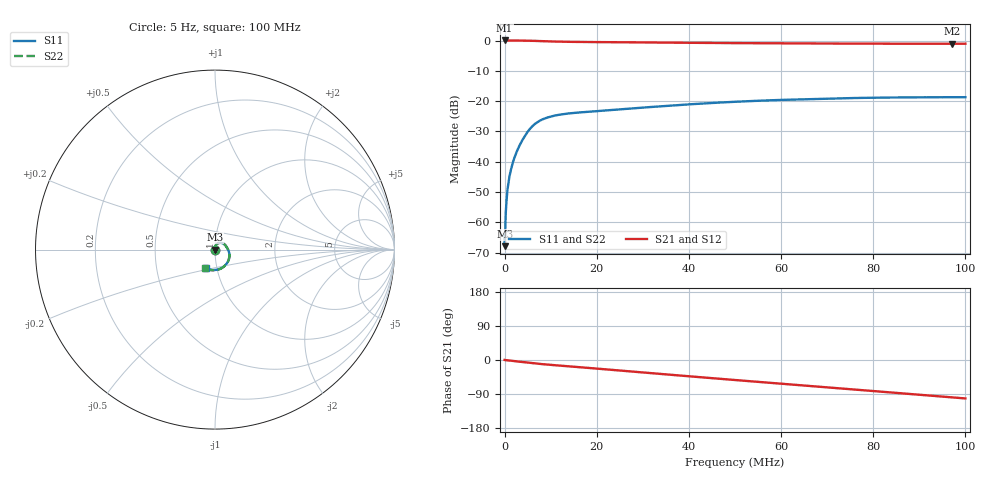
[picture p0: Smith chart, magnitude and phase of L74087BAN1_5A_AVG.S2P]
!Agilent Technologies,E5061B,MY49102235,A.02.00
!Date: Mon Jul 10 15:53:09 2023
!Data & Calibration Information:
!Freq	S11:SOLT2(ON)	S21:SOLT2(ON)	S12:SOLT2(ON)	S22:SOLT2(ON)
# Hz S RI R 50
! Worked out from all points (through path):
!   1600 points, 5 Hz to 100 MHz, reference 50 ohm
!   highest |S21| = 0.02 dB at 5 Hz (marker M1); lowest = -1.1 dB at 97.12 MHz (marker M2)
!   group delay of S21, straight-line fit = 2.76 ns
!   lowest |S11| = -67.9 dB at 62.54 kHz (marker M3), VSWR 1.00, Z = 50 + j0.0403 ohm
!   |S11| at or under -10 dB: start of sweep to end of sweep
!   |S22| runs from -79.5 to -18.6 dB; largest |S21 - S12| = 0.0028
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5  -0.000433 0.000431  1.002 0.00239  1.001 -6.79e-05  -8.12e-05 -6.8e-05
62544.08  -2.61e-05 0.000403  0.9999 -0.00114  1 -0.00121  1.91e-05 0.00031
375239.5  0.000172 0.00211  0.9998 -0.00864  1 -0.00865  0.000109 0.00204
562856.8  0.00029 0.00311  0.9994 -0.0132  0.9995 -0.013  0.000199 0.00311
625395.8  0.000291 0.00347  0.9995 -0.0148  0.999 -0.0144  0.000302 0.00347
750474  8.56e-05 0.00402  0.9996 -0.0176  0.9994 -0.0167  6.4e-05 0.00404
1000630  0.000176 0.00544  0.9995 -0.0231  0.9994 -0.0231  0.000208 0.00535
1500943  0.0005 0.00805  0.9992 -0.0354  0.9985 -0.035  0.000505 0.00808
2126334  0.000989 0.0115  0.9976 -0.0499  0.9981 -0.0499  0.000906 0.0115
3001881  0.00204 0.0168  0.9967 -0.0703  0.9968 -0.0701  0.00203 0.0168
4065045  0.00483 0.0237  0.9927 -0.097  0.9926 -0.0969  0.00477 0.0237
5065671  0.00946 0.0302  0.9866 -0.1214  0.9864 -0.1211  0.00942 0.0302
6003757  0.0159 0.0349  0.9785 -0.143  0.9785 -0.1427  0.0158 0.035
8192625  0.0325 0.0377  0.9569 -0.185  0.9568 -0.1849  0.0326 0.0379
1.156974e7  0.0503 0.0309  0.9287 -0.2382  0.9286 -0.2382  0.0503 0.0311
1.669794e7  0.063 0.0173  0.8928 -0.3141  0.8927 -0.314  0.0632 0.0173
3.333334e7  0.0791 -0.0196  0.7466 -0.5469  0.7467 -0.5467  0.0792 -0.0203
5.003127e7  0.0736 -0.0639  0.5472 -0.7222  0.5475 -0.7222  0.073 -0.0647
6.672921e7  0.04 -0.1008  0.3185 -0.8333  0.3184 -0.8333  0.0394 -0.1018
8.33646e7  -0.00684 -0.1143  0.0742 -0.8833  0.0744 -0.8834  -0.00796 -0.1155
9.71232e7  -0.0453 -0.1067  -0.1328 -0.8743  -0.1331 -0.8748  -0.0467 -0.1081
1e8  -0.0525 -0.1036  -0.1756 -0.8671  -0.176 -0.8672  -0.0542 -0.1049
